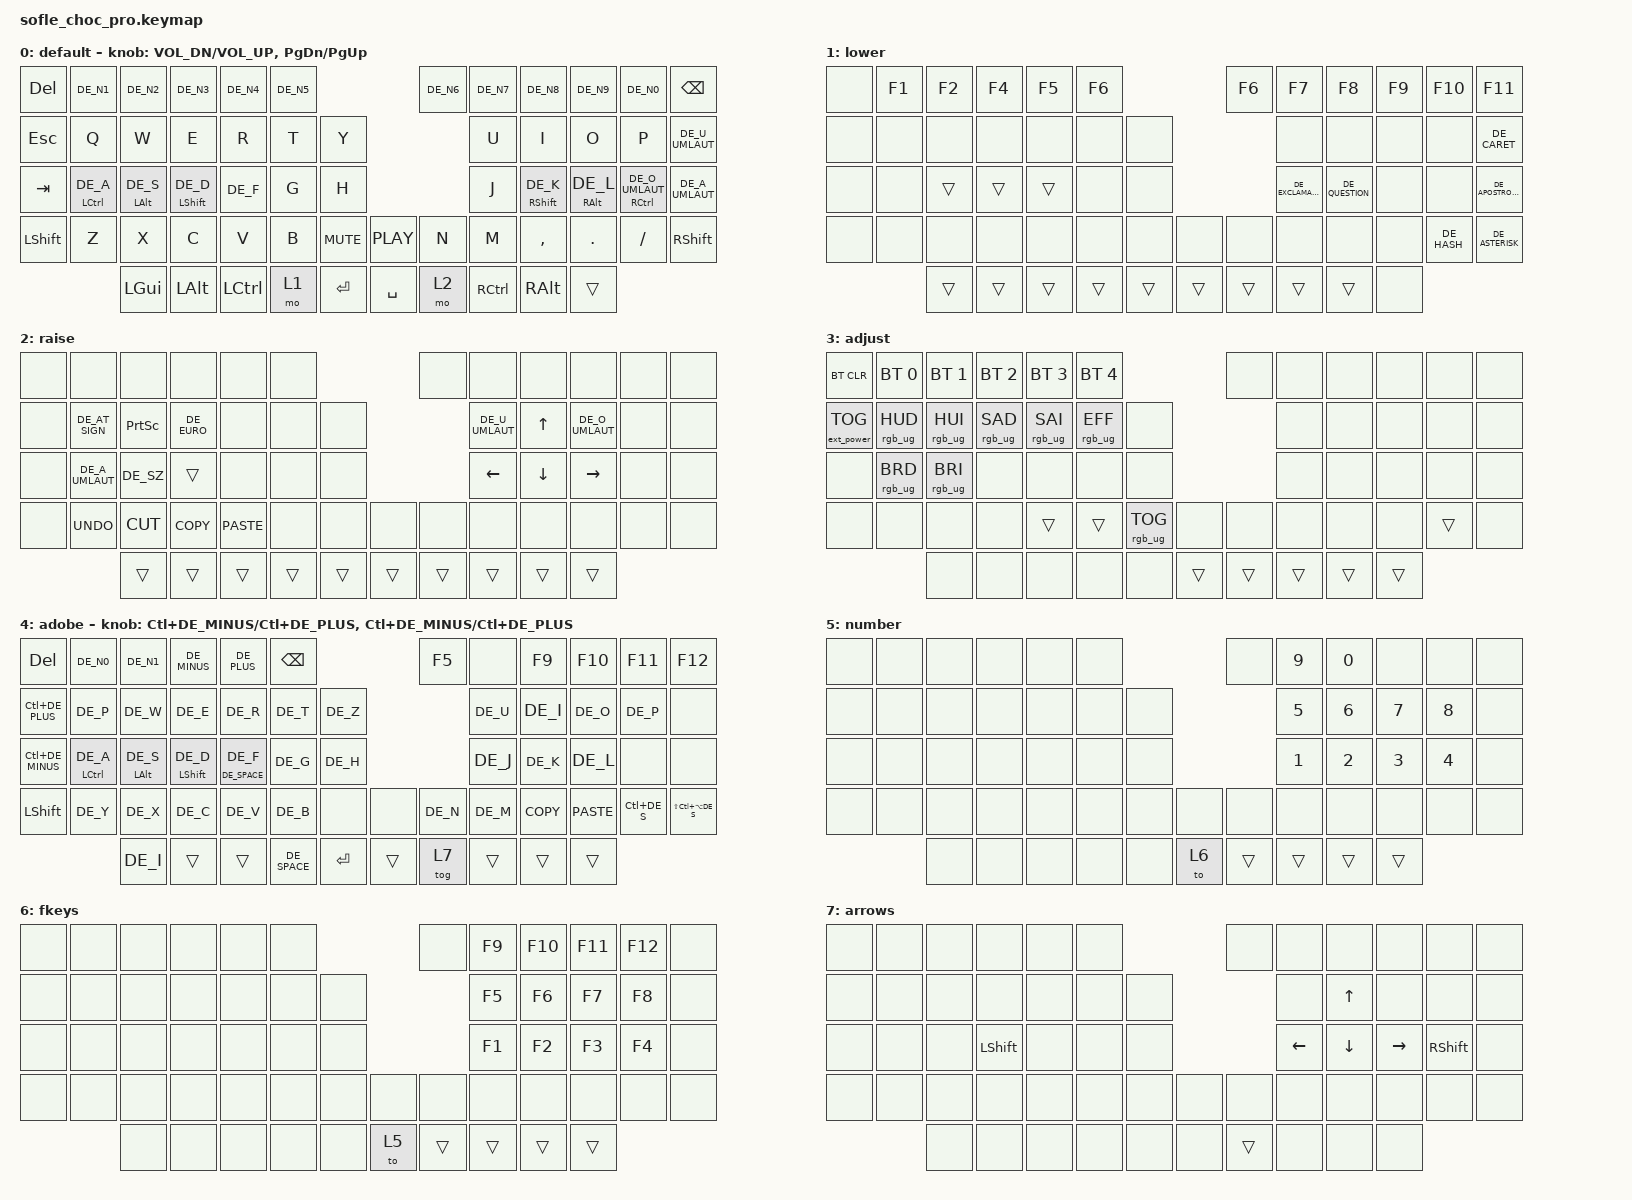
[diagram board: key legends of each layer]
#include <dt-bindings/zmk/mouse.h>
#include <behaviors.dtsi>
#include <dt-bindings/zmk/bt.h>
#include <dt-bindings/zmk/ext_power.h>
#include <dt-bindings/zmk/keys.h>
#include <dt-bindings/zmk/rgb.h>
#include "zmk-helpers.h"
#include "keys_de.h"

#define BASE 0
#define LOWER 1
#define RAISE 2
#define ADJUST 3
#define ADOBE 4
#define NUMBER 5
#define FKEYS 6
#define ARROWS 7

/ {
    behaviors {
        // hm steht für Home-Row-Mods

        hm: home_row_mods {
            compatible = "zmk,behavior-hold-tap";
            #binding-cells = <2>;
            tapping-term-ms = <250>;    // Etwas länger warten für Modifikatoren
            quick-tap-ms = <150>;      // Erleichtert doppeltes Tippen (z.B. "Staat")
            flavor = "tap-preferred";  // Priorisiert den Buchstaben beim Tippen
            bindings = <&kp>, <&kp>;
        };
    };

    conditional_layers {
        compatible = "zmk,conditional-layers";

        adjust_layer {
            if-layers = <1 2>;
            then-layer = <3>;
        };
    };

    combos {
        compatible = "zmk,combos";

        /* Diese Combo schaltet den Adobe-Layer ein, wenn er aus ist, 
           und aus, wenn er an ist. Da kein 'layers' angegeben ist,
           funktioniert sie immer.
        */

        to_adobe {
            bindings = <&to 4>;
            key-positions = <59 57>;
            timeout-ms = <50>;
        };

        to_default {
            bindings = <&to 0>;
            key-positions = <59 58>;
            timeout-ms = <50>;
        };

        to_adjust {
            bindings = <&tog 3>;
            key-positions = <59 55>;
            timeout-ms = <50>;
        };

        to_f_number {
            bindings = <&to 5>;
            key-positions = <59 56>;
            timeout-ms = <50>;
        };

        adobe_to_default {
            bindings = <&to 0>;
            key-positions = <59 58>;
            timeout-ms = <50>;
            layers = <4>;
        };

        number_to_default {
            bindings = <&to 0>;
            key-positions = <59 58>;
            timeout-ms = <50>;
            layers = <5>;
        };

        f_keys_layer_to_default {
            bindings = <&to 0>;
            key-positions = <59 58>;
            timeout-ms = <50>;
            layers = <6>;
        };

        adjust_layer_to_default {
            bindings = <&to 0>;
            key-positions = <59 58>;
            timeout-ms = <50>;
            layers = <3>;
        };
    };

    keymap {
        compatible = "zmk,keymap";

        default_layer {
            display-name = "default";

            // ------------------------------------------------------------------------------------------------------------
            // |   `   |  1  |  2  |  3   |  4   |  5   |                   |  6   |  7    |  8    |  9   |   0   |   `   |
            // |  ESC  |  Q  |  W  |  E   |  R   |  T   |                   |  Y   |  U    |  I    |  O   |   P   | BKSPC |
            // |  TAB  |  A  |  S  |  D   |  F   |  G   |                   |  H   |  J    |  K    |  L   |   ;   |   '   |
            // | SHIFT |  Z  |  X  |  C   |  V   |  B   |  MUTE  |  | PLAY  |  N   |  M    |  ,    |  .   |   /   | SHIFT |
            //               | GUI | ALT  | CTRL | LOWER|  ENTER |  | SPACE | RAISE| CTRL  | ALT   | GUI  |

            bindings = <
&kp DELETE  &kp DE_N1              &kp DE_N2          &kp DE_N3            &kp DE_N4  &kp DE_N5                          &kp DE_N6  &kp DE_N7  &kp DE_N8             &kp DE_N9           &kp DE_N0                      &kp BACKSPACE
&kp ESC     &kp Q                  &kp W              &kp E                &kp R      &kp T      &kp Y                              &kp U      &kp I                 &kp O               &kp P                          &kp DE_U_UMLAUT
&kp TAB     &hm LEFT_CONTROL DE_A  &hm LEFT_ALT DE_S  &hm LEFT_SHIFT DE_D  &kp DE_F   &kp G      &kp H                              &kp J      &hm RIGHT_SHIFT DE_K  &hm RIGHT_ALT DE_L  &hm RIGHT_CONTROL DE_O_UMLAUT  &kp DE_A_UMLAUT
&kp LSHFT   &kp Z                  &kp X              &kp C                &kp V      &kp B      &kp C_MUTE  &kp C_PLAY  &kp N      &kp M      &kp COMMA             &kp DOT             &kp SLASH                      &kp RSHFT
                                   &kp LGUI           &kp LALT             &kp LCTRL  &mo 1      &kp RET     &kp SPACE   &mo 2      &kp RCTRL  &kp RALT              &trans
            >;

            sensor-bindings =
                <&inc_dec_kp C_VOL_DN C_VOL_UP>,
                <&inc_dec_kp PG_DN PG_UP>;
        };

        lower_layer {
            display-name = "lower";

            // ------------------------------------------------------------------------------------------------------------
            // |       |  F1 |  F2 |  F3  |  F4  |  F5  |                   |  F6  |  F7   |  F8   |  F9  |  F10  |  F11  |
            // |   `   |  1  |  2  |  3   |  4   |  5   |                   |  6   |  7    |  8    |  9   |   0   |  F12  |
            // |       |  !  |  @  |  #   |  $   |  %   |                   |  ^   |  &    |  *    |  (   |   )   |   |   |
            // |       |  =  |  -  |  +   |  {   |  }   |        |  |       |  [   |  ]    |  ;    |  :   |   \   |       |
            //               |     |      |      |      |        |  |       |      |       |       |      |

            bindings = <
&none  &kp F1  &kp F2  &kp F4  &kp F5  &kp F6                  &kp F6  &kp F7              &kp F8           &kp F9  &kp F10      &kp F11
&none  &none   &none   &none   &none   &none   &none                   &none               &none            &none   &none        &kp DE_CARET
&none  &none   &trans  &trans  &trans  &none   &none                   &kp DE_EXCLAMATION  &kp DE_QUESTION  &none   &none        &kp DE_APOSTROPHE
&none  &none   &none   &none   &none   &none   &none   &none   &none   &none               &none            &none   &kp DE_HASH  &kp DE_ASTERISK
               &trans  &trans  &trans  &trans  &trans  &trans  &trans  &trans              &trans           &none
            >;
        };

        raise_layer {
            display-name = "raise";

            // ------------------------------------------------------------------------------------------------------------
            // | BTCLR | BT1  | BT2  |  BT3  |  BT4  |  BT5 |                |      |      |       |      |       |       |
            // |       | INS  | PSCR | GUI   |       |      |                | PGUP |      |   ^   |      |       |       |
            // |       | ALT  | CTRL | SHIFT |       | CAPS |                | PGDN |   <- |   v   |  ->  |  DEL  | BKSPC |
            // |       | UNDO | CUT  | COPY  | PASTE |      |      |  |      |      |      |       |      |       |       |
            //                |      |       |       |      |      |  |      |      |      |       |      |

            bindings = <
&none  &none            &none      &none        &none        &none                   &none   &none            &none           &none            &none  &none
&none  &kp DE_AT_SIGN   &kp PSCRN  &kp DE_EURO  &none        &none   &none                   &kp DE_U_UMLAUT  &kp UP_ARROW    &kp DE_O_UMLAUT  &none  &none
&none  &kp DE_A_UMLAUT  &kp DE_SZ  &trans       &none        &none   &none                   &kp LEFT_ARROW   &kp DOWN_ARROW  &kp RIGHT_ARROW  &none  &none
&none  &kp K_UNDO       &kp K_CUT  &kp K_COPY   &kp K_PASTE  &none   &none   &none   &none   &none            &none           &none            &none  &none
                        &trans     &trans       &trans       &trans  &trans  &trans  &trans  &trans           &trans          &trans
            >;
        };

        adjust_layer {
            display-name = "adjust";

            // ----------------------------------------------------------------------------------------------------------------------------
            // | BTCLR  |  BT1    |  BT2    |   BT3   |   BT4   |   BT5   |                  |      |      |       |      |       |       |
            // | EXTPWR | RGB_HUD | RGB_HUI | RGB_SAD | RGB_SAI | RGB_EFF |                  |      |      |       |      |       |       |
            // |        | RGB_BRD | RGB_BRI |         |         |         |                  |      |      |       |      |       |       |
            // |        |         |         |         |         |         | RGB_TOG | |      |      |      |       |      |       |       |
            //                    |         |         |         |         |         | |      |      |      |       |      |

            display-name = "adjust";
            bindings = <
&bt BT_CLR         &bt BT_SEL 0     &bt BT_SEL 1     &bt BT_SEL 2     &bt BT_SEL 3     &bt BT_SEL 4                              &none   &none   &none   &none   &none   &none
&ext_power EP_TOG  &rgb_ug RGB_HUD  &rgb_ug RGB_HUI  &rgb_ug RGB_SAD  &rgb_ug RGB_SAI  &rgb_ug RGB_EFF  &none                            &none   &none   &none   &none   &none
&none              &rgb_ug RGB_BRD  &rgb_ug RGB_BRI  &none            &none            &none            &none                            &none   &none   &none   &none   &none
&none              &none            &none            &none            &trans           &trans           &rgb_ug RGB_TOG  &none   &none   &none   &none   &none   &trans  &none
                                    &none            &none            &none            &none            &none            &trans  &trans  &trans  &trans  &trans
            >;
        };

        adobe_layer {
            display-name = "adobe";
            bindings = <
&kp DEL           &kp DE_N0              &kp DE_N1          &kp DE_MINUS         &kp DE_PLUS        &kp BACKSPACE                    &kp F5    &none     &kp F9      &kp F10      &kp F11       &kp F12
&kp LC(DE_PLUS)   &kp DE_P               &kp DE_W           &kp DE_E             &kp DE_R           &kp DE_T       &kp DE_Z                    &kp DE_U  &kp DE_I    &kp DE_O     &kp DE_P      &none
&kp LC(DE_MINUS)  &hm LEFT_CONTROL DE_A  &hm LEFT_ALT DE_S  &hm LEFT_SHIFT DE_D  &hm DE_SPACE DE_F  &kp DE_G       &kp DE_H                    &kp DE_J  &kp DE_K    &kp DE_L     &none         &none
&kp LEFT_SHIFT    &kp DE_Y               &kp DE_X           &kp DE_C             &kp DE_V           &kp DE_B       &none     &none   &kp DE_N  &kp DE_M  &kp K_COPY  &kp K_PASTE  &kp LC(DE_S)  &kp LS(LC(LA(DE_S)))
                                         &kp DE_I           &trans               &trans             &kp DE_SPACE   &kp RET   &trans  &tog 7    &trans    &trans      &trans
            >;

            sensor-bindings =
                <&inc_dec_kp LC(DE_MINUS) LC(DE_PLUS)>,
                <&inc_dec_kp LC(DE_MINUS) LC(DE_PLUS)>;
        };

        number_layer {
            display-name = "number";
            bindings = <
&none  &none  &none  &none  &none  &none                &none   &kp N9  &kp N0  &none   &none   &none
&none  &none  &none  &none  &none  &none  &none                 &kp N5  &kp N6  &kp N7  &kp N8  &none
&none  &none  &none  &none  &none  &none  &none                 &kp N1  &kp N2  &kp N3  &kp N4  &none
&none  &none  &none  &none  &none  &none  &none  &none  &none   &none   &none   &none   &none   &none
              &none  &none  &none  &none  &none  &to 6  &trans  &trans  &trans  &trans
            >;
        };

        f_keys_layer {
            display-name = "fkeys";
            bindings = <
&none  &none  &none  &none  &none  &none                &none   &kp F9  &kp F10  &kp F11  &kp F12  &none
&none  &none  &none  &none  &none  &none  &none                 &kp F5  &kp F6   &kp F7   &kp F8   &none
&none  &none  &none  &none  &none  &none  &none                 &kp F1  &kp F2   &kp F3   &kp F4   &none
&none  &none  &none  &none  &none  &none  &none  &none  &none   &none   &none    &none    &none    &none
              &none  &none  &none  &none  &none  &to 5  &trans  &trans  &trans   &trans
            >;
        };

        adobe_arrow_keys {
            display-name = "arrows";
            bindings = <
&none  &none  &none  &none           &none  &none                &none   &none           &none           &none            &none            &none
&none  &none  &none  &none           &none  &none  &none                 &none           &kp UP_ARROW    &none            &none            &none
&none  &none  &none  &kp LEFT_SHIFT  &none  &none  &none                 &kp LEFT_ARROW  &kp DOWN_ARROW  &kp RIGHT_ARROW  &kp RIGHT_SHIFT  &none
&none  &none  &none  &none           &none  &none  &none  &none  &none   &none           &none           &none            &none            &none
              &none  &none           &none  &none  &none  &none  &trans  &none           &none           &none
            >;
        };
    };
};
